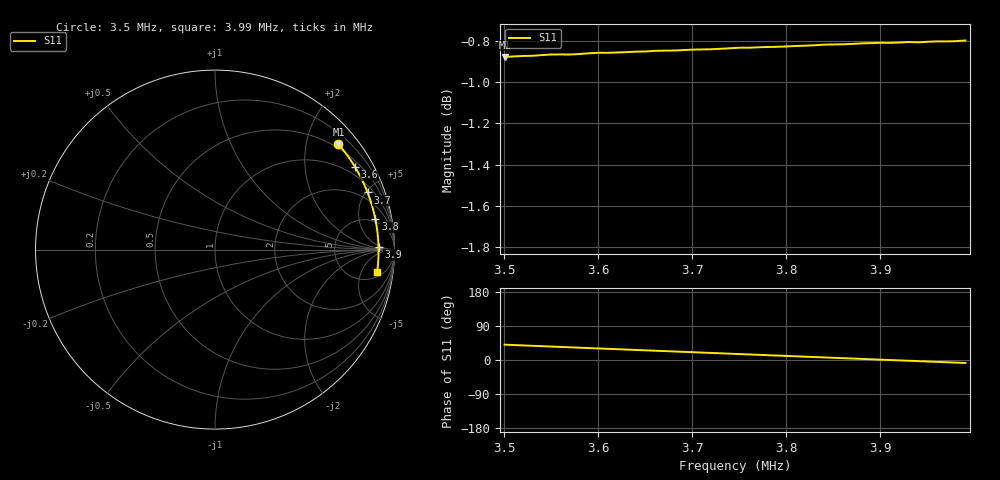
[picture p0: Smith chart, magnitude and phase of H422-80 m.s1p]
# HZ S RI R 50
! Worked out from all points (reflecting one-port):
!   50 points, 3.5 MHz to 3.99 MHz, reference 50 ohm
!   lowest |S11| = -0.9 dB at 3.5 MHz (marker M1), VSWR 19.82, Z = 20.7 + j133 ohm
!   phase of S11 starts at 40 deg and turns -48 deg over the sweep
!   S11 on the Smith chart (normalised r, x): 3.5 MHz: 0.41, +2.66; 3.6 MHz: 0.69, +3.55; 3.7 MHz: 1.42, +5.14; 3.8 MHz: 4.34, +8.47; 3.9 MHz: 21, +4; 3.99 MHz: 7, -10
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3500200  0.6879 0.5864
3520208  0.7084 0.5624
3540216  0.728 0.5375
3550220  0.7375 0.5248
3570228  0.7552 0.4991
3590236  0.7727 0.4727
3600240  0.7809 0.4595
3630252  0.8041 0.4183
3640256  0.8114 0.4045
3660264  0.8254 0.3762
3670268  0.8318 0.3619
3690276  0.8441 0.3331
3700280  0.8499 0.3186
3730292  0.8656 0.2745
3750300  0.8751 0.2448
3770308  0.8832 0.2145
3780312  0.8869 0.1994
3800320  0.8935 0.1689
3810324  0.8965 0.1537
3840336  0.9039 0.1075
3850340  0.9056 0.0921
3870348  0.9086 0.0611
3880352  0.9097 0.0454
3900360  0.9111 0.0145
3930372  0.911 -0.0321
3960384  0.9085 -0.0786
3970388  0.907 -0.0939
3990396  0.9037 -0.1251
